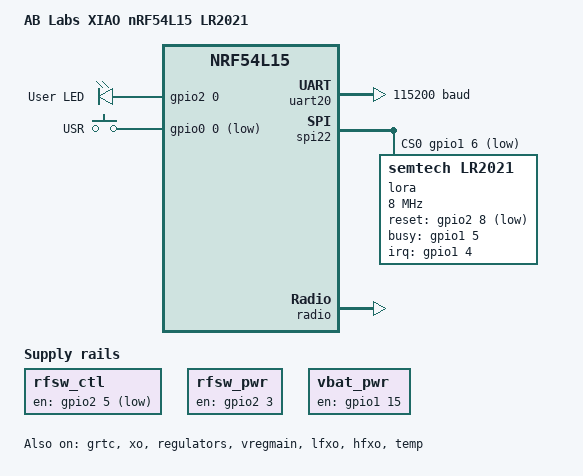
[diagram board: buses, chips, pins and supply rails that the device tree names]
/*
 * AB Labs XIAO nRF54L15 + Wio-LR2021 carrier
 * Copyright (c) 2026 ZephCore
 * SPDX-License-Identifier: MIT
 *
 * MeshCore variants/ab_xiao_nrf52_lr2021 wiring, on the nRF54L15 header map:
 *   D1  P1.05  LR2021 BUSY          D6  P2.08  LR2021 NRESET
 *   D2  P1.06  LR2021 NSS           D7  P2.07  LR2021 DIO7  (unused)
 *   D3  P1.07  SPI SCK  (spi22)     D8  P2.01  LR2021 DIO8 (IRQ) -> see below
 *   D4  P1.10  SPI MOSI (spi22)     D9  P2.04  LR2021 DIO11 (unused)
 *   D5  P1.11  SPI MISO (spi22)     D0  P1.04  IRQ input, via jumper from D8
 *
 * IRQ: the radio drives DIO8 onto D8 = P2.01, and port P2 has no GPIOTE, so no
 * GPIO interrupt can be taken there. A wire from header pin D8 to D0 (P1.04,
 * gpiote20) carries the same signal to a pin that can. P2.01 is left
 * unconfigured (high-Z) so it does not fight the wire.
 *
 * No I2C: MeshCore's SDA/SCL (D0/D10) straddle P1 and P2, which no TWIM can
 * span, and D0 is now the IRQ input. No battery ADC: as xiao_nrf54l15, the
 * SAADC full-scale for the multiplier is not yet pinned down.
 *
 * Wio-LR2021 front end as MeshCore drives it: 32 MHz TCXO on VTCXO at 1.6 V and
 * no RF switch DIOs.
 *
 * Flashing: SWD through the XIAO's SAMD11 CMSIS-DAP bridge; the image links at
 * RRAM base 0x0 (no bootloader), as seeed_lr2021_evk.
 */

/dts-v1/;
#include <nordic/nrf54l15_cpuapp.dtsi>
#include "ab_labs_xiao_nrf54l15_lr2021-pinctrl.dtsi"
#include <zephyr/dt-bindings/input/input-event-codes.h>

/ {
	model = "AB Labs XIAO nRF54L15 LR2021";
	compatible = "ablabs,xiao-nrf54l15-lr2021";

	chosen {
		zephyr,sram = &cpuapp_sram;
		zephyr,flash = &cpuapp_rram;
		zephyr,flash-controller = &rram_controller;
		zephyr,console = &uart20;
		zephyr,shell-uart = &uart20;
	};

	aliases {
		lora0 = &lora;
		led0 = &user_led;
		sw0 = &user_button;
	};

	leds {
		compatible = "gpio-leds";

		user_led: led_0 {
			gpios = <&gpio2 0 GPIO_ACTIVE_HIGH>;
			label = "User LED";
		};
	};

	buttons: buttons {
		compatible = "gpio-keys";

		/* XIAO USR button, P0.00 (gpiote30). */
		user_button: button_0 {
			gpios = <&gpio0 0 (GPIO_PULL_UP | GPIO_ACTIVE_LOW)>;
			zephyr,code = <INPUT_KEY_0>;
			label = "USR";
		};
	};

	user_btn_longpress {
		compatible = "zephyr,input-longpress";
		input = <&buttons>;
		input-codes = <INPUT_KEY_0>;
		short-codes = <INPUT_KEY_A>;
		long-codes = <INPUT_KEY_ENTER>;
		long-delay-ms = <1000>;
	};

	user_btn_multitap {
		compatible = "zephcore,input-multi-tap";
		input-codes = <INPUT_KEY_A>;
		tap-codes = <INPUT_KEY_1 INPUT_KEY_LEFT>;
		tap-delay-ms = <400>;
	};

	/*
	 * XIAO 2.4 GHz antenna switch (chip antenna / U.FL) for the SoC's BLE
	 * radio, boot-on as upstream's xiao_nrf54l15 declares them. Nothing to do
	 * with the LR2021.
	 */
	rfsw_ctl: rfsw-ctl {
		compatible = "regulator-fixed";
		regulator-name = "rfsw-ctl";
		enable-gpios = <&gpio2 5 GPIO_ACTIVE_LOW>;
		regulator-boot-on;
	};

	rfsw_pwr: rfsw-pwr {
		compatible = "regulator-fixed";
		regulator-name = "rfsw-pwr";
		enable-gpios = <&gpio2 3 GPIO_ACTIVE_HIGH>;
		regulator-boot-on;
	};

	/* Battery sense rail enable (P1.15), gating the divider on P1.14/AIN7. */
	vbat_pwr: vbat-pwr {
		compatible = "regulator-fixed";
		regulator-name = "vbat";
		enable-gpios = <&gpio1 15 GPIO_ACTIVE_HIGH>;
		regulator-boot-on;
	};
};

&cpuapp_sram {
	status = "okay";
};

&grtc {
	owned-channels = <0 1 2 3 4 5 6 7 8 9 10 11>;
	/* Channels 7-11 reserved for Zero Latency IRQs, 3-4 for FLPR */
	child-owned-channels = <3 4 7 8 9 10 11>;
	status = "okay";
};

&clock {
	status = "okay";
};

&xo {
	status = "okay";
};

&lfclk {
	status = "okay";
};

&uart20 {
	status = "okay";
	current-speed = <115200>;
	pinctrl-0 = <&uart20_default>;
	pinctrl-1 = <&uart20_sleep>;
	pinctrl-names = "default", "sleep";
};

&uart21 {
	status = "disabled";
};

&i2c22 {
	status = "disabled";
};

&i2c30 {
	status = "disabled";
};

&spi22 {
	status = "okay";
	cs-gpios = <&gpio1 6 GPIO_ACTIVE_LOW>;	/* D2 = P1.06 NSS */
	pinctrl-0 = <&spi22_default>;
	pinctrl-1 = <&spi22_sleep>;
	pinctrl-names = "default", "sleep";
	/* 0x00 = LR2021 NOP; Nordic's 0xff default reads as an opcode */
	overrun-character = <0x00>;

	lora: lora@0 {
		compatible = "semtech,lr2021";
		reg = <0>;
		spi-max-frequency = <8000000>;

		reset-gpios = <&gpio2 8 GPIO_ACTIVE_LOW>;			/* D6 = P2.08 */
		busy-gpios = <&gpio1 5 GPIO_ACTIVE_HIGH>;			/* D1 = P1.05 */
		irq-gpios = <&gpio1 4 (GPIO_PULL_DOWN | GPIO_ACTIVE_HIGH)>;	/* D0 = P1.04, jumpered from D8 */
		irq-dio = <8>;
		tcxo-voltage = <1600>;

		rx-boosted;
	};
};

&gpio0 {
	status = "okay";
};

&gpio1 {
	status = "okay";
};

&gpio2 {
	status = "okay";
};

&gpiote20 {
	status = "okay";
};

&gpiote30 {
	status = "okay";
};

&regulators {
	status = "okay";
};

&vregmain {
	status = "okay";
	regulator-initial-mode = <NRF5X_REG_MODE_DCDC>;
};

/* XIAO crystals, values from upstream's xiao_nrf54l15 DTS. */
&lfxo {
	load-capacitors = "internal";
	load-capacitance-femtofarad = <16000>;
	status = "okay";
};

&hfxo {
	load-capacitors = "internal";
	load-capacitance-femtofarad = <16000>;
	status = "okay";
};

&radio {
	status = "okay";
};

&temp {
	status = "okay";
};

#include <vendor/nordic/nrf54l15_cpuapp_partition.dtsi>

/*
 * RRAM layout, no bootloader (as seeed_lr2021_evk):
 *   0x000000 - 0x14E000  application (links from 0x0)
 *   0x14E000 - 0x165000  LittleFS
 */
/delete-node/ &slot0_partition;
/delete-node/ &slot1_partition;
/delete-node/ &storage_partition;

&cpuapp_rram {
	partitions {
		lfs_partition: partition@14e000 {
			compatible = "zephyr,mapped-partition";
			label = "lfs";
			reg = <0x14E000 0x17000>;
		};
	};
};

#include "../../common/filesystem.dtsi"
